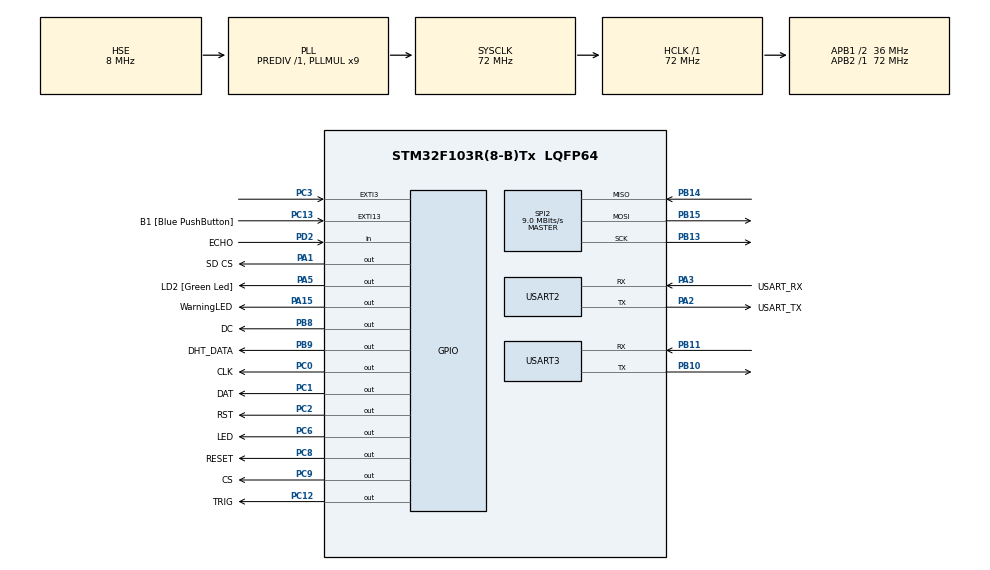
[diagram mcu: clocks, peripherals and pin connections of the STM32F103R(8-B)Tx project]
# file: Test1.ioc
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Dma.Request0=SPI2_TX
Dma.SPI2_TX.0.Direction=DMA_MEMORY_TO_PERIPH
Dma.SPI2_TX.0.Instance=DMA1_Channel5
Dma.SPI2_TX.0.MemDataAlignment=DMA_MDATAALIGN_BYTE
Dma.SPI2_TX.0.MemInc=DMA_MINC_ENABLE
Dma.SPI2_TX.0.Mode=DMA_NORMAL
Dma.SPI2_TX.0.PeriphDataAlignment=DMA_PDATAALIGN_BYTE
Dma.SPI2_TX.0.PeriphInc=DMA_PINC_DISABLE
Dma.SPI2_TX.0.Priority=DMA_PRIORITY_MEDIUM
FATFS._MAX_SS=4096
FATFS._USE_LFN=3
Mcu.Family=STM32F1
Mcu.Name=STM32F103R(8-B)Tx
Mcu.Package=LQFP64
NVIC.DMA1_Channel5_IRQn=true\:0\:0\:false\:false\:true\:false\:true\:true
NVIC.EXTI15_10_IRQn=true\:0\:0\:false\:false\:true\:true\:true\:true
NVIC.EXTI3_IRQn=true\:0\:0\:false\:false\:true\:true\:true\:true
NVIC.PriorityGroup=NVIC_PRIORITYGROUP_4
NVIC.SPI2_IRQn=true\:0\:0\:false\:false\:true\:true\:true\:true
NVIC.TIM4_IRQn=true\:15\:0\:false\:false\:true\:false\:true\:true
NVIC.TimeBase=TIM4_IRQn
NVIC.TimeBaseIP=TIM4
NVIC.USART3_IRQn=true\:0\:0\:false\:false\:true\:true\:true\:true
PA1.GPIO_Label=SD CS
PA1.GPIO_Speed=GPIO_SPEED_FREQ_MEDIUM
PA1.PinState=GPIO_PIN_SET
PA1.Signal=GPIO_Output
PA13.GPIO_Label=TMS
PA13.Mode=Serial_Wire
PA13.Signal=SYS_JTMS-SWDIO
PA14.GPIO_Label=TCK
PA14.Mode=Serial_Wire
PA14.Signal=SYS_JTCK-SWCLK
PA15.GPIO_Label=WarningLED
PA15.GPIO_Speed=GPIO_SPEED_FREQ_HIGH
PA15.Signal=GPIO_Output
PA2.GPIO_Label=USART_TX
PA2.GPIO_Mode=GPIO_MODE_AF_PP
PA2.GPIO_PuPd=GPIO_NOPULL
PA2.GPIO_Speed=GPIO_SPEED_FREQ_LOW
PA2.Mode=Asynchronous
PA2.Signal=USART2_TX
PA3.GPIO_Label=USART_RX
PA3.GPIO_Mode=GPIO_MODE_AF_PP
PA3.GPIO_PuPd=GPIO_NOPULL
PA3.GPIO_Speed=GPIO_SPEED_FREQ_LOW
PA3.Mode=Asynchronous
PA3.Signal=USART2_RX
PA5.GPIO_Label=LD2 [Green Led]
PA5.GPIO_ModeDefaultOutputPP=GPIO_MODE_OUTPUT_PP
PA5.GPIO_PuPd=GPIO_NOPULL
PA5.GPIO_Speed=GPIO_SPEED_FREQ_LOW
PA5.Signal=GPIO_Output
PB10.Mode=Asynchronous
PB10.Signal=USART3_TX
PB11.Mode=Asynchronous
PB11.Signal=USART3_RX
PB13.Mode=Full_Duplex_Master
PB13.Signal=SPI2_SCK
PB14.Mode=Full_Duplex_Master
PB14.Signal=SPI2_MISO
PB15.Mode=Full_Duplex_Master
PB15.Signal=SPI2_MOSI
PB3.GPIO_Label=SWO
PB3.Signal=SYS_JTDO-TRACESWO
PB8.GPIO_Label=DC
PB8.GPIO_Speed=GPIO_SPEED_FREQ_HIGH
PB8.PinState=GPIO_PIN_RESET
PB8.Signal=GPIO_Output
PB9.GPIO_Label=DHT_DATA
PB9.GPIO_Speed=GPIO_SPEED_FREQ_HIGH
PB9.PinState=GPIO_PIN_RESET
PB9.Signal=GPIO_Output
PC0.GPIO_Label=CLK
PC0.GPIO_Speed=GPIO_SPEED_FREQ_HIGH
PC0.Signal=GPIO_Output
PC1.GPIO_Label=DAT
PC1.GPIO_Speed=GPIO_SPEED_FREQ_HIGH
PC1.Signal=GPIO_Output
PC12.GPIO_Label=TRIG
PC12.GPIO_Speed=GPIO_SPEED_FREQ_HIGH
PC12.Signal=GPIO_Output
PC13-TAMPER-RTC.GPIO_Label=B1 [Blue PushButton]
PC13-TAMPER-RTC.GPIO_PuPd=GPIO_NOPULL
PC13-TAMPER-RTC.Signal=GPXTI13
PC14-OSC32_IN.Mode=LSE-External-Oscillator
PC14-OSC32_IN.Signal=RCC_OSC32_IN
PC15-OSC32_OUT.Mode=LSE-External-Oscillator
PC15-OSC32_OUT.Signal=RCC_OSC32_OUT
PC2.GPIO_Label=RST
PC2.GPIO_Speed=GPIO_SPEED_FREQ_HIGH
PC2.Signal=GPIO_Output
PC3.GPIO_ModeDefaultEXTI=GPIO_MODE_IT_RISING_FALLING
PC3.GPIO_PuPd=GPIO_NOPULL
PC3.Signal=GPXTI3
PC6.GPIO_Label=LED
PC6.GPIO_Speed=GPIO_SPEED_FREQ_HIGH
PC6.PinState=GPIO_PIN_SET
PC6.Signal=GPIO_Output
PC8.GPIO_Label=RESET
PC8.GPIO_Speed=GPIO_SPEED_FREQ_HIGH
PC8.PinState=GPIO_PIN_RESET
PC8.Signal=GPIO_Output
PC9.GPIO_Label=CS
PC9.GPIO_Speed=GPIO_SPEED_FREQ_HIGH
PC9.PinState=GPIO_PIN_SET
PC9.Signal=GPIO_Output
PD0-OSC_IN.Mode=HSE-External-Clock-Source
PD0-OSC_IN.Signal=RCC_OSC_IN
PD1-OSC_OUT.Mode=HSE-External-Clock-Source
PD1-OSC_OUT.Signal=RCC_OSC_OUT
PD2.GPIO_Label=ECHO
PD2.Signal=GPIO_Input
ProjectManager.HeapSize=0x200
ProjectManager.StackSize=0x400
ProjectManager.TargetToolchain=STM32CubeIDE
RCC.AHBFreq_Value=72000000
RCC.APB1CLKDivider=RCC_HCLK_DIV2
RCC.APB1Freq_Value=36000000
RCC.APB1TimFreq_Value=72000000
RCC.APB2Freq_Value=72000000
RCC.APB2TimFreq_Value=72000000
RCC.HCLKFreq_Value=72000000
RCC.PLLMUL=RCC_PLL_MUL9
RCC.PLLSourceVirtual=RCC_PLLSOURCE_HSE
RCC.RTCClockSelection=RCC_RTCCLKSOURCE_LSE
RCC.SYSCLKFreq_VALUE=72000000
RCC.SYSCLKSource=RCC_SYSCLKSOURCE_PLLCLK
RCC.USBFreq_Value=72000000
SPI2.BaudRatePrescaler=SPI_BAUDRATEPRESCALER_4
SPI2.CalculateBaudRate=9.0 MBits/s
SPI2.Direction=SPI_DIRECTION_2LINES
SPI2.Mode=SPI_MODE_MASTER
SPI2.VirtualType=VM_MASTER
TIM1.Prescaler=72-1
TIM2.Prescaler=72-1
USART2.VirtualMode=VM_ASYNC
USART3.VirtualMode=VM_ASYNC
VP_FATFS_VS_Generic.Mode=User_defined
VP_SYS_VS_tim4.Mode=TIM4
VP_TIM1_VS_ClockSourceINT.Mode=Internal
VP_TIM2_VS_ClockSourceINT.Mode=Internal
board=NUCLEO-F103RB

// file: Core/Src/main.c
/* USER CODE BEGIN Header */
/**
  ******************************************************************************
  * @file           : main.c
  * @brief          : Main program body
  ******************************************************************************
  * @attention
  *
  * Copyright (c) 2025 STMicroelectronics.
  * All rights reserved.
  *
  * This software is licensed under terms that can be found in the LICENSE file
  * in the root directory of this software component.
  * If no LICENSE file comes with this software, it is provided AS-IS.
  *
  ******************************************************************************
  */
/* USER CODE END Header */
#include "main.h"
#include "fatfs.h"

/* USER CODE BEGIN Includes */
#include "string.h"
#include "stdlib.h"
#include "stdio.h"
#include "fonts.h"
#include "ILI9341_GFX.h"
#include "ILI9341_STM32_Driver.h"
#include "mk_dht11.h"
#include "fatfs.h"
/* USER CODE END Includes */

/* USER CODE BEGIN PTD */
FLASH_EraseInitTypeDef EraseInitStruct;

typedef struct datameet
{
	uint8_t tensec;
	uint8_t tenmin;
	uint8_t tenhour;
	uint8_t tendate;
	uint8_t tenmonth;
	uint16_t realyear;
	uint16_t vibralevel;

	float avertemperature;
	float averwaterlevel;
	float averdistance;
}datameet;
/* USER CODE END PTD */

SPI_HandleTypeDef hspi2;
DMA_HandleTypeDef hdma_spi2_tx;

TIM_HandleTypeDef htim1;
TIM_HandleTypeDef htim2;

UART_HandleTypeDef huart2;
UART_HandleTypeDef huart3;

/* USER CODE BEGIN PV */
char modem[80] = { 0 };
char final[70] = { 0 };
char hcsr[50] = { 0 };
char rssifront[30] = { 0 };
char humitemp[30] = { 0 };
char send[30] = { 0 };
char sdfinal[50] = { 0 };
char bugfinal[70] = { 0 };
char sdbugfinal[50] = { 0 };
char transfinal[70] = { 0 };
char datafield[60] = { 0 };

uint32_t tempco = 0;
uint32_t humico = 0;
dht11_t dht;
uint16_t finaltemp = 0;
uint16_t finalhumi = 0;
uint16_t tempstack = 0;
uint16_t humistack = 0;
uint16_t diststack = 0;
uint16_t branch = 0;

char seccom[50] = "";

float temperror = 0;
float humierror = 0;
float disterror = 0;

uint8_t sec = 0;
uint8_t min = 0;
uint8_t hour = 0;
uint8_t date = 0;
uint8_t month = 0;
uint8_t year = 0;
uint8_t tenyear = 0;
int rssi = 0;

datameet timedata;

float distance;
float distco = 0;
float finaldist = 0;

FATFS fs;
FATFS *pfs;
FIL fil;
FIL filbug;

FRESULT fres;
DWORD fre_clust;
FRESULT ress;

/* USER CODE END PV */

void SystemClock_Config(void);
static void MX_GPIO_Init(void);
static void MX_DMA_Init(void);
static void MX_SPI2_Init(void);
static void MX_TIM1_Init(void);
static void MX_TIM2_Init(void);
static void MX_USART2_UART_Init(void);
static void MX_USART3_UART_Init(void);
/* USER CODE BEGIN PFP */
void HAL_Delayus(uint16_t);

void ProtectRESET();
void DS1302_RESET();
void DS1302_WriteByte(uint8_t,uint8_t);
void Clk();
uint16_t DS1302_ReadByte(uint16_t);
uint8_t DS1302_tenone(uint8_t);
void _Error_Handler(char *file, int line);
void Disconnect();
void HCSR();
/* USER CODE END PFP */

int main(void)
{

  /* MCU Configuration--------------------------------------------------------*/

  /* Reset of all peripherals, Initializes the Flash interface and the Systick. */
  HAL_Init();

  /* Configure the system clock */
  SystemClock_Config();

  /* Initialize all configured peripherals */
  MX_GPIO_Init();
  MX_DMA_Init();
  MX_SPI2_Init();
  MX_TIM1_Init();
  MX_TIM2_Init();
  MX_FATFS_Init();
  MX_USART2_UART_Init();
  MX_USART3_UART_Init();
  /* USER CODE BEGIN 2 */
  ILI9341_Init();
  init_dht11(&dht,&htim1,GPIOB,GPIO_PIN_9);

  f_mount(&fs,"",0);
  // !!!!!! Time Setting Code !!!!!!

  /*DS1302_WriteByte(0x80,0x50);
  DS1302_WriteByte(0x82,0x28);
  DS1302_WriteByte(0x84,0x11);
  DS1302_WriteByte(0x86,0x26);
  DS1302_WriteByte(0x88,0x03);
  DS1302_WriteByte(0x8C,0x25);*/

  ILI9341_FillScreen(WHITE);
  ILI9341_DrawText("Start",FONT4,95,170,BLACK,WHITE);

  HAL_Delay(5000);

  ILI9341_FillScreen(WHITE);

  while(1)
   {
 	  ILI9341_FillScreen(BLACK);

 	  HAL_Delay(1000);

 	  ILI9341_FillScreen(WHITE);

 	  HAL_Delay(1000);

   ILI9341_DrawText("AT",FONT4,100,160,BLACK, WHITE);

   memset(modem,0,sizeof(modem));
   HAL_UART_Transmit(&huart3,(uint8_t*)"AT\r\n",strlen("AT\r\n"),1000);
   HAL_UART_Receive(&huart3,(uint8_t*)modem,sizeof(modem),1000);

   if(strstr((const char*)modem,"OK") == NULL)
   {
 	  ILI9341_DrawText("AT Fail",FONT4,100,160,BLACK,WHITE);
 	  HAL_Delay(1000);

 	  ILI9341_FillScreen(WHITE);

 	  continue;
   }
   memset(modem,0,sizeof(modem));

   ILI9341_DrawText("AT OK",FONT4,100,160,BLACK, WHITE);

   HAL_Delay(1000);

   ILI9341_FillScreen(WHITE);

   ILI9341_DrawText("AT CFUN",FONT4,80,160,BLACK,WHITE);

   HAL_Delay(1000);

   memset(modem,0,sizeof(modem));
   HAL_UART_Transmit(&huart3,(uint8_t*)"AT+CFUN=1,1\r\n",strlen("AT+CFUN=1,1\r\n"), 1000);

   HAL_Delay(1000);

   ILI9341_FillScreen(WHITE);

   ILI9341_DrawText("Modem reseting..",FONT4,60,160,BLACK,WHITE);

   HAL_Delay(30000);

   ILI9341_FillScreen(WHITE);

   ILI9341_DrawText("AT CREG",FONT4,90,160,BLACK,WHITE);

   HAL_Delay(1000);

   memset(modem,0,sizeof(modem));
   HAL_UART_Transmit(&huart3,(uint8_t*)"AT+CREG?\r\n",strlen("AT+CREG?\r\n"),1000);
   HAL_UART_Receive(&huart3,(uint8_t*)modem,sizeof(modem),1000);

   if (strstr((const char*)modem, "0,1") == NULL && strstr((const char*)modem, "0,5") == NULL)
   {
 	  ILI9341_DrawText("AT CREG Fail",FONT4,70,160,BLACK,WHITE);
 	  HAL_Delay(1000);

 	  continue;
   }

   ILI9341_DrawText("AT CREG OK",FONT4,70,160,BLACK,WHITE);

   HAL_Delay(1000);

   ILI9341_FillScreen(WHITE);

   ILI9341_DrawText("AT+CGDCONT",FONT4,60,160,BLACK,WHITE);

   HAL_Delay(1000);

   memset(modem,0,sizeof(modem));
   HAL_UART_Transmit(&huart3,(uint8_t*)"AT+CGDCONT=1,\"IP\",\"3gnet\"\r\n",strlen("AT+CGDCONT=1,\"IP\",\"3gnet\"\r\n"),1000);
   HAL_UART_Receive(&huart3,(uint8_t*)modem,sizeof(modem),1000);

   if(strstr((const char*)modem,"OK") == NULL)
   {
 	  ILI9341_DrawText("AT CGDCONT Fail",FONT4,50,160,BLACK,WHITE);
 	  HAL_Delay(1000);

 	  continue;
   }

   ILI9341_DrawText("AT CGDCONT OK",FONT4,50,160,BLACK,WHITE);

   HAL_Delay(1000);

   ILI9341_FillScreen(WHITE);

   ILI9341_DrawText("AT SICS TYPE",FONT4,50,160,BLACK,WHITE);

   HAL_Delay(1000);

   memset(modem,0,sizeof(modem));

   HAL_UART_Transmit(&huart3,(uint8_t*)"AT^SICS=0,\"conType\",\"GPRS0\"\r\n",strlen("AT^SICS=0,\"conType\",\"GPRS0\"\r\n"),1000);
   HAL_UART_Receive(&huart3,(uint8_t*)modem,sizeof(modem),1000);

   if(strstr((const char*)modem,"OK") == NULL)
   {
 	  ILI9341_DrawText("AT SICS TYPE Fail",FONT4,50,160,BLACK,WHITE);
 	  HAL_Delay(1000);

 	  continue;
   }

   ILI9341_DrawText("AT SICS TYPE OK",FONT4,50,160,BLACK,WHITE);

   HAL_Delay(1000);

   ILI9341_FillScreen(WHITE);

   ILI9341_DrawText("AT SICS APN",FONT4,60,160,BLACK,WHITE);

   HAL_Delay(1000);

   memset(modem,0,sizeof(modem));

   HAL_UART_Transmit(&huart3,(uint8_t*)"AT^SICS=0,\"apn\",\"3gnet\"\r\n",strlen("AT^SICS=0,\"apn\",\"3gnet\"\r\n"),1000);
   HAL_UART_Receive(&huart3,(uint8_t*)modem,sizeof(modem),1000);

   if(strstr((const char*)modem, "OK") == NULL)
   {
 	  ILI9341_DrawText("AT SICS APN Fail",FONT4,50,160,BLACK,WHITE);
 	  HAL_Delay(1000);

 	  continue;
   }

   ILI9341_DrawText("AT SICS APN OK",FONT4,50,160,BLACK,WHITE);

   HAL_Delay(1000);

   ILI9341_FillScreen(WHITE);

   ILI9341_DrawText("AT SISS TYPE",FONT4,60,160,BLACK,WHITE);

   HAL_Delay(1000);
   memset(modem,0,sizeof(modem));
   HAL_UART_Transmit(&huart3,(uint8_t*)"AT^SISS=0,\"srvType\",\"Socket\"\r\n",strlen("AT^SISS=0,\"srvType\",\"Socket\"\r\n"),1000);
   HAL_UART_Receive(&huart3,(uint8_t*)modem,sizeof(modem),1000);

   if(strstr((const char*) modem, "OK") == NULL)
   {
 	  ILI9341_DrawText("AT SISS TYPE Fail",FONT4,50,160,BLACK,WHITE);
 	  HAL_Delay(1000);

 	  continue;
   }

   ILI9341_DrawText("AT SISS TYPE OK",FONT4,60,160,BLACK,WHITE);

   HAL_Delay(1000);

   ILI9341_FillScreen(WHITE);

   ILI9341_DrawText("AT SISS ID",FONT4,70,160,BLACK,WHITE);

   HAL_Delay(1000);
   memset(modem,0,sizeof(modem));
   HAL_UART_Transmit(&huart3,(uint8_t*)"AT^SISS=0,\"conId\",0\r\n",strlen("AT^SISS=0,\"conId\",0\r\n"),1000);
   HAL_UART_Receive(&huart3,(uint8_t*)modem,sizeof(modem),1000);

   if(strstr((const char*)modem,"OK") == NULL)
   {
 	  ILI9341_DrawText("AT SISS ID Fail",FONT4,60,160,BLACK,WHITE);
 	  HAL_Delay(1000);

 	  continue;
   }

   ILI9341_DrawText("AT SISS ID OK",FONT4,70,160,BLACK,WHITE);

   HAL_Delay(1000);

   ILI9341_FillScreen(WHITE);

   ILI9341_DrawText("AT SISS address",FONT4,60,160,BLACK,WHITE);

   HAL_Delay(1000);

   memset(modem,0,sizeof(modem));
   HAL_UART_Transmit(&huart3,(uint8_t*)"AT^SISS=0,\"address\",\"socktcp://49.254.169.71:5001\"\r\n",strlen("AT^SISS=0,\"address\",\"socktcp://49.254.169.71:5001\"\r\n"), 1000);
   HAL_UART_Receive(&huart3,(uint8_t*)modem,sizeof(modem),1000);

   if(strstr((const char*)modem, "OK") == NULL)
   {
 	  ILI9341_DrawText("AT SISS address Fail",FONT4,40,160,BLACK,WHITE);
 	  HAL_Delay(1000);

 	  continue;
   }

   ILI9341_DrawText("AT SISS address OK",FONT4,50,160,BLACK,WHITE);

   HAL_Delay(1000);

   ILI9341_FillScreen(WHITE);

   ILI9341_DrawText("AT+CGATT",FONT4,80,160,BLACK,WHITE);

   HAL_Delay(1000);
   memset(modem,0,sizeof(modem));
   HAL_UART_Transmit(&huart3,(uint8_t*)"AT+CGATT?\r\n",strlen("AT+CGATT?\r\n"), 1000);
   HAL_UART_Receive(&huart3,(uint8_t*)modem,sizeof(modem),1000);

   if(strstr((const char*)modem,"1") == NULL)
   {
 	 ILI9341_DrawText("AT+CGATT Fail",FONT4,70,160,BLACK,WHITE);
 	 HAL_Delay(1000);

 	 continue;
   }

   ILI9341_DrawText("AT CGATT OK",FONT4,70,160,BLACK,WHITE);

   HAL_Delay(1000);

   ILI9341_FillScreen(WHITE);

   ILI9341_DrawText("AT+CGACT",FONT4,70,160,BLACK,WHITE);

   HAL_Delay(1000);
   memset(modem,0,sizeof(modem));
   HAL_UART_Transmit(&huart3,(uint8_t*)"AT+CGACT=1,1\r\n",strlen("AT+CGACT=1,1\r\n"), 1000);
   HAL_UART_Receive(&huart3,(uint8_t*)modem,sizeof(modem),1000);

   HAL_Delay(5000);

   if(strstr((const char*)modem,"1,1") == NULL)
    {
  	  ILI9341_DrawText("AT+CGACT Fail",FONT4,80,160,BLACK,WHITE);
  	  HAL_Delay(1000);

  	  continue;
    }

    ILI9341_DrawText("AT+CGACT OK",FONT4,70,160,BLACK,WHITE);

      HAL_Delay(1000);

      HAL_UART_Transmit(&huart3,(uint8_t*)"AT^SISO=0\r\n",strlen("AT^SISO=0\r\n"),1000);
      HAL_UART_Receive(&huart3,(uint8_t*)modem,sizeof(modem),1000);

      HAL_Delay(3000);

      ILI9341_DrawText("Communication OK?",FONT4,60,160,BLACK,WHITE);

      HAL_Delay(1000);

      HAL_UART_Transmit(&huart3,(uint8_t*)"AT^SISI?\r\n",strlen("AT^SISI?\r\n"),1000);
      HAL_UART_Receive(&huart3,(uint8_t*)modem,sizeof(modem),1000);

      if(strstr((const char*)modem, "0,4") == NULL)
      {
     	 ILI9341_DrawText("Communication Fail",FONT4,40,160,BLACK,WHITE);
     	 HAL_Delay(1000);

     	 continue;
      }
      ILI9341_FillScreen(WHITE);

      ILI9341_DrawText("Communication OK",FONT4,50,160,BLACK,WHITE);

      HAL_Delay(1000);

      ILI9341_FillScreen(WHITE);

      break;
   }
  /* USER CODE END 2 */

  /* Infinite loop */
  while (1)
  {

    /* USER CODE BEGIN 3 */
	    Clk();

	    sprintf(seccom,"  %d/%02d/%02d    %02d:%02d:%02d\r\n\r\n",timedata.realyear,timedata.tenmonth,timedata.tendate,timedata.tenhour,timedata.tenmin,timedata.tensec);
	    ILI9341_DrawText(seccom,FONT4,1,260,BLACK,WHITE);

	    readDHT11(&dht);
	    HCSR();

	    uint8_t temp = dht.temperature;
	    uint8_t humi = dht.humidty;

	    if(distance > 300 || distance < 2)
	    {
	    	disterror++;
	    }
	    else
	    {
	    	 distco += distance;
	    	 diststack++;
	    }

	    if(temp > 50 || temp < 0)
	    {
	    	temperror++;
	    }
	    else
	    {
	        tempco += temp;
	        tempstack++;
	    }

	    if(humi > 90 || humi < 15)
	    {
	    	humierror++;
	    }
	    else
	    {
	    	humico += humi;
	    	humistack++;
	    }

	    sprintf(hcsr,"Distance : %.2fcm",distance);
	    sprintf(humitemp,"Temp : %d*C Humi : %drh",temp,humi);

	    ILI9341_DrawText(hcsr,FONT4,15,120,BLACK, WHITE);
	    ILI9341_DrawText(humitemp,FONT4,15,170,BLACK,WHITE);

	    if(timedata.tenmin % 10 == 0)
	    {
	    	branch++;
	    }

	    if(branch == 1)
	    {
	    finaldist = distco/diststack;
	    finaltemp = tempco/tempstack;
	    finalhumi = humico/humistack;

	    disterror = disterror/(float)diststack * 100.0;
	    temperror = temperror/(float)tempstack * 100.0;
	    humierror = humierror/(float)humistack * 100.0;

	    memset(modem,0,sizeof(modem));

	    HAL_UART_Transmit(&huart3,(uint8_t*)"AT+CSQ\r\n",strlen("AT+CSQ\r\n"),1000);
	    HAL_UART_Receive(&huart3,(uint8_t*)modem,sizeof(modem),1000);
	    char *csqptr = strstr(modem,":");
	    sscanf(csqptr,": %d",&rssi);

		sprintf(final,"%d-%02d-%02d/%02d:%02d:%02d %d %d %.2f %02d %.1f %.1f %.1f",timedata.realyear,timedata.tenmonth,timedata.tendate,timedata.tenhour,timedata.tenmin,timedata.tensec,finaltemp,finalhumi,finaldist,rssi,disterror,temperror,humierror);
		sprintf(datafield,"%d%02d%02d%02d%02d%02d %d %d %.2f %02d %.1f %.1f %.1f",timedata.realyear,timedata.tenmonth,timedata.tendate,timedata.tenhour,timedata.tenmin,timedata.tensec,finaltemp,finalhumi,finaldist,rssi,disterror,temperror,humierror);

		uint8_t datalen = strlen(datafield);
		uint8_t checksum = 0;
        uint8_t checkstack = 0;

		while(datafield[checkstack] != '\0')
		{
			checksum ^= datafield[checkstack];

			checkstack++;
		}

		sprintf(transfinal,"#%d%d%02d%02d%02d%02d%02d %d %d %.2f %02d %.1f %.1f %.1f$%d@",datalen,timedata.realyear,timedata.tenmonth,timedata.tendate,timedata.tenhour,timedata.tenmin,timedata.tensec,finaltemp,finalhumi,finaldist,rssi,disterror,temperror,humierror,checksum);
		sprintf(sdfinal,"%d-%02d-%02d.txt",timedata.realyear,timedata.tenmonth,timedata.tendate);
	    sprintf(rssifront,"Rssi[db] : %d", rssi);

	    ILI9341_DrawText(rssifront,FONT4,40,60,BLACK,WHITE);

		HAL_UART_Transmit(&huart3,(uint8_t*)"AT^SISI?\r\n",strlen("AT^SISI?\r\n"),1000);
		HAL_UART_Receive(&huart3,(uint8_t*)modem,sizeof(modem),1000);

		if((strstr((const char*)modem,"0,4") != NULL))
		{
		f_open(&fil,sdfinal,FA_WRITE | FA_READ | FA_OPEN_ALWAYS);
		f_lseek(&fil, f_size(&fil));
		f_puts(final,&fil);
		f_puts("\n",&fil);
		f_close(&fil);

		sprintf(send,"AT^SISW=0,%d\r\n",strlen(transfinal));

		HAL_UART_Transmit(&huart3,(uint8_t*)send,strlen(send),1000);

		HAL_Delay(1000);

		HAL_UART_Transmit(&huart3,(uint8_t*)transfinal,strlen(transfinal),1000);
		}
		else
		{
			Disconnect();
		}

	    distco = 0;
		tempco = 0;
		humico = 0;

		finalhumi = 0;
		finaltemp = 0;
		finaldist = 0;
		diststack = 0;
		tempstack = 0;
		humistack = 0;
		disterror = 0;
		temperror = 0;
		humierror = 0;
	    }
	    else if(timedata.tenmin % 10 != 0)
	    {
	    	branch = 0;
	    }

	    HAL_Delay(720);
  }
  /* USER CODE END 3 */
}

void SystemClock_Config(void)
{
  RCC_OscInitTypeDef RCC_OscInitStruct = {0};
  RCC_ClkInitTypeDef RCC_ClkInitStruct = {0};

  /** Initializes the RCC Oscillators according to the specified parameters
  * in the RCC_OscInitTypeDef structure.
  */
  RCC_OscInitStruct.OscillatorType = RCC_OSCILLATORTYPE_HSE;
  RCC_OscInitStruct.HSEState = RCC_HSE_BYPASS;
  RCC_OscInitStruct.HSEPredivValue = RCC_HSE_PREDIV_DIV1;
  RCC_OscInitStruct.HSIState = RCC_HSI_ON;
  RCC_OscInitStruct.PLL.PLLState = RCC_PLL_ON;
  RCC_OscInitStruct.PLL.PLLSource = RCC_PLLSOURCE_HSE;
  RCC_OscInitStruct.PLL.PLLMUL = RCC_PLL_MUL9;
  if (HAL_RCC_OscConfig(&RCC_OscInitStruct) != HAL_OK)
  {
    Error_Handler();
  }

  /** Initializes the CPU, AHB and APB buses clocks
  */
  RCC_ClkInitStruct.ClockType = RCC_CLOCKTYPE_HCLK|RCC_CLOCKTYPE_SYSCLK
                              |RCC_CLOCKTYPE_PCLK1|RCC_CLOCKTYPE_PCLK2;
  RCC_ClkInitStruct.SYSCLKSource = RCC_SYSCLKSOURCE_PLLCLK;
  RCC_ClkInitStruct.AHBCLKDivider = RCC_SYSCLK_DIV1;
  RCC_ClkInitStruct.APB1CLKDivider = RCC_HCLK_DIV2;
  RCC_ClkInitStruct.APB2CLKDivider = RCC_HCLK_DIV1;

  if (HAL_RCC_ClockConfig(&RCC_ClkInitStruct, FLASH_LATENCY_2) != HAL_OK)
  {
    Error_Handler();
  }
}

static void MX_SPI2_Init(void)
{

  /* SPI2 parameter configuration*/
  hspi2.Instance = SPI2;
  hspi2.Init.Mode = SPI_MODE_MASTER;
  hspi2.Init.Direction = SPI_DIRECTION_2LINES;
  hspi2.Init.DataSize = SPI_DATASIZE_8BIT;
  hspi2.Init.CLKPolarity = SPI_POLARITY_LOW;
  hspi2.Init.CLKPhase = SPI_PHASE_1EDGE;
  hspi2.Init.NSS = SPI_NSS_SOFT;
  hspi2.Init.BaudRatePrescaler = SPI_BAUDRATEPRESCALER_4;
  hspi2.Init.FirstBit = SPI_FIRSTBIT_MSB;
  hspi2.Init.TIMode = SPI_TIMODE_DISABLE;
  hspi2.Init.CRCCalculation = SPI_CRCCALCULATION_DISABLE;
  hspi2.Init.CRCPolynomial = 10;
  if (HAL_SPI_Init(&hspi2) != HAL_OK)
  {
    Error_Handler();
  }

}

static void MX_TIM1_Init(void)
{

  TIM_ClockConfigTypeDef sClockSourceConfig = {0};
  TIM_MasterConfigTypeDef sMasterConfig = {0};

  htim1.Instance = TIM1;
  htim1.Init.Prescaler = 72-1;
  htim1.Init.CounterMode = TIM_COUNTERMODE_UP;
  htim1.Init.Period = 65535;
  htim1.Init.ClockDivision = TIM_CLOCKDIVISION_DIV1;
  htim1.Init.RepetitionCounter = 0;
  htim1.Init.AutoReloadPreload = TIM_AUTORELOAD_PRELOAD_DISABLE;
  if (HAL_TIM_Base_Init(&htim1) != HAL_OK)
  {
    Error_Handler();
  }
  sClockSourceConfig.ClockSource = TIM_CLOCKSOURCE_INTERNAL;
  if (HAL_TIM_ConfigClockSource(&htim1, &sClockSourceConfig) != HAL_OK)
  {
    Error_Handler();
  }
  sMasterConfig.MasterOutputTrigger = TIM_TRGO_RESET;
  sMasterConfig.MasterSlaveMode = TIM_MASTERSLAVEMODE_DISABLE;
  if (HAL_TIMEx_MasterConfigSynchronization(&htim1, &sMasterConfig) != HAL_OK)
  {
    Error_Handler();
  }

}

static void MX_TIM2_Init(void)
{

  TIM_ClockConfigTypeDef sClockSourceConfig = {0};
  TIM_MasterConfigTypeDef sMasterConfig = {0};

  htim2.Instance = TIM2;
  htim2.Init.Prescaler = 72-1;
  htim2.Init.CounterMode = TIM_COUNTERMODE_UP;
  htim2.Init.Period = 65535;
  htim2.Init.ClockDivision = TIM_CLOCKDIVISION_DIV1;
  htim2.Init.AutoReloadPreload = TIM_AUTORELOAD_PRELOAD_DISABLE;
  if (HAL_TIM_Base_Init(&htim2) != HAL_OK)
  {
    Error_Handler();
  }
  sClockSourceConfig.ClockSource = TIM_CLOCKSOURCE_INTERNAL;
  if (HAL_TIM_ConfigClockSource(&htim2, &sClockSourceConfig) != HAL_OK)
  {
    Error_Handler();
  }
  sMasterConfig.MasterOutputTrigger = TIM_TRGO_RESET;
  sMasterConfig.MasterSlaveMode = TIM_MASTERSLAVEMODE_DISABLE;
  if (HAL_TIMEx_MasterConfigSynchronization(&htim2, &sMasterConfig) != HAL_OK)
  {
    Error_Handler();
  }

}

static void MX_USART2_UART_Init(void)
{

  huart2.Instance = USART2;
  huart2.Init.BaudRate = 115200;
  huart2.Init.WordLength = UART_WORDLENGTH_8B;
  huart2.Init.StopBits = UART_STOPBITS_1;
  huart2.Init.Parity = UART_PARITY_NONE;
  huart2.Init.Mode = UART_MODE_TX_RX;
  huart2.Init.HwFlowCtl = UART_HWCONTROL_NONE;
  huart2.Init.OverSampling = UART_OVERSAMPLING_16;
  if (HAL_UART_Init(&huart2) != HAL_OK)
  {
    Error_Handler();
  }

}

static void MX_USART3_UART_Init(void)
{

  huart3.Instance = USART3;
  huart3.Init.BaudRate = 115200;
  huart3.Init.WordLength = UART_WORDLENGTH_8B;
  huart3.Init.StopBits = UART_STOPBITS_1;
  huart3.Init.Parity = UART_PARITY_NONE;
  huart3.Init.Mode = UART_MODE_TX_RX;
  huart3.Init.HwFlowCtl = UART_HWCONTROL_NONE;
  huart3.Init.OverSampling = UART_OVERSAMPLING_16;
  if (HAL_UART_Init(&huart3) != HAL_OK)
  {
    Error_Handler();
  }

}

static void MX_DMA_Init(void)
{

  /* DMA controller clock enable */
  __HAL_RCC_DMA1_CLK_ENABLE();

  /* DMA interrupt init */
  /* DMA1_Channel5_IRQn interrupt configuration */
  HAL_NVIC_SetPriority(DMA1_Channel5_IRQn, 0, 0);
  HAL_NVIC_EnableIRQ(DMA1_Channel5_IRQn);

}

static void MX_GPIO_Init(void)
{
  GPIO_InitTypeDef GPIO_InitStruct = {0};

  /* GPIO Ports Clock Enable */
  __HAL_RCC_GPIOC_CLK_ENABLE();
  __HAL_RCC_GPIOD_CLK_ENABLE();
  __HAL_RCC_GPIOA_CLK_ENABLE();
  __HAL_RCC_GPIOB_CLK_ENABLE();

  /*Configure GPIO pin Output Level */
  HAL_GPIO_WritePin(GPIOC, CLK_Pin|DAT_Pin|RST_Pin|RESET_Pin
                          |TRIG_Pin, GPIO_PIN_RESET);

  /*Configure GPIO pin Output Level */
  HAL_GPIO_WritePin(SD_CS_GPIO_Port, SD_CS_Pin, GPIO_PIN_SET);

  /*Configure GPIO pin Output Level */
  HAL_GPIO_WritePin(GPIOA, LD2_Pin|WarningLED_Pin, GPIO_PIN_RESET);

  /*Configure GPIO pin Output Level */
  HAL_GPIO_WritePin(GPIOC, LED_Pin|CS_Pin, GPIO_PIN_SET);

  /*Configure GPIO pin Output Level */
  HAL_GPIO_WritePin(GPIOB, DC_Pin|DHT_DATA_Pin, GPIO_PIN_RESET);

  /*Configure GPIO pin : B1_Pin */
  GPIO_InitStruct.Pin = B1_Pin;
  GPIO_InitStruct.Mode = GPIO_MODE_IT_RISING;
  GPIO_InitStruct.Pull = GPIO_NOPULL;
  HAL_GPIO_Init(B1_GPIO_Port, &GPIO_InitStruct);

  /*Configure GPIO pins : CLK_Pin DAT_Pin RST_Pin LED_Pin
                           RESET_Pin CS_Pin TRIG_Pin */
  GPIO_InitStruct.Pin = CLK_Pin|DAT_Pin|RST_Pin|LED_Pin
                          |RESET_Pin|CS_Pin|TRIG_Pin;
  GPIO_InitStruct.Mode = GPIO_MODE_OUTPUT_PP;
  GPIO_InitStruct.Pull = GPIO_NOPULL;
  GPIO_InitStruct.Speed = GPIO_SPEED_FREQ_HIGH;
  HAL_GPIO_Init(GPIOC, &GPIO_InitStruct);

  /*Configure GPIO pin : PC3 */
  GPIO_InitStruct.Pin = GPIO_PIN_3;
  GPIO_InitStruct.Mode = GPIO_MODE_IT_RISING_FALLING;
  GPIO_InitStruct.Pull = GPIO_NOPULL;
  HAL_GPIO_Init(GPIOC, &GPIO_InitStruct);

  /*Configure GPIO pin : SD_CS_Pin */
  GPIO_InitStruct.Pin = SD_CS_Pin;
  GPIO_InitStruct.Mode = GPIO_MODE_OUTPUT_PP;
  GPIO_InitStruct.Pull = GPIO_NOPULL;
  GPIO_InitStruct.Speed = GPIO_SPEED_FREQ_MEDIUM;
  HAL_GPIO_Init(SD_CS_GPIO_Port, &GPIO_InitStruct);

  /*Configure GPIO pin : LD2_Pin */
  GPIO_InitStruct.Pin = LD2_Pin;
  GPIO_InitStruct.Mode = GPIO_MODE_OUTPUT_PP;
  GPIO_InitStruct.Pull = GPIO_NOPULL;
  GPIO_InitStruct.Speed = GPIO_SPEED_FREQ_LOW;
  HAL_GPIO_Init(LD2_GPIO_Port, &GPIO_InitStruct);

  /*Configure GPIO pin : WarningLED_Pin */
  GPIO_InitStruct.Pin = WarningLED_Pin;
  GPIO_InitStruct.Mode = GPIO_MODE_OUTPUT_PP;
  GPIO_InitStruct.Pull = GPIO_NOPULL;
  GPIO_InitStruct.Speed = GPIO_SPEED_FREQ_HIGH;
  HAL_GPIO_Init(WarningLED_GPIO_Port, &GPIO_InitStruct);

  /*Configure GPIO pin : ECHO_Pin */
  GPIO_InitStruct.Pin = ECHO_Pin;
  GPIO_InitStruct.Mode = GPIO_MODE_INPUT;
  GPIO_InitStruct.Pull = GPIO_NOPULL;
  HAL_GPIO_Init(ECHO_GPIO_Port, &GPIO_InitStruct);

  /*Configure GPIO pins : DC_Pin DHT_DATA_Pin */
  GPIO_InitStruct.Pin = DC_Pin|DHT_DATA_Pin;
  GPIO_InitStruct.Mode = GPIO_MODE_OUTPUT_PP;
  GPIO_InitStruct.Pull = GPIO_NOPULL;
  GPIO_InitStruct.Speed = GPIO_SPEED_FREQ_HIGH;
  HAL_GPIO_Init(GPIOB, &GPIO_InitStruct);

  /* EXTI interrupt init*/
  HAL_NVIC_SetPriority(EXTI3_IRQn, 0, 0);
  HAL_NVIC_EnableIRQ(EXTI3_IRQn);

  HAL_NVIC_SetPriority(EXTI15_10_IRQn, 0, 0);
  HAL_NVIC_EnableIRQ(EXTI15_10_IRQn);

}

/* USER CODE BEGIN 4 */
void HAL_Delayus(uint16_t time)
{
	HAL_TIM_Base_Start(&htim1);

	__HAL_TIM_SET_COUNTER(&htim1,0);

	while(__HAL_TIM_GET_COUNTER(&htim1) < time);

	HAL_TIM_Base_Stop(&htim1);
}

void ProtectRESET()
{
	uint8_t protect = 0x8E;

	HAL_GPIO_WritePin(RST_GPIO_Port,RST_Pin,GPIO_PIN_SET);

	for(int i = 0; i < 8; i++)
	{
	   HAL_GPIO_WritePin(DAT_GPIO_Port,DAT_Pin,(protect >> i) & 0x01);

	   HAL_GPIO_WritePin(CLK_GPIO_Port,CLK_Pin,GPIO_PIN_SET);
	   HAL_GPIO_WritePin(CLK_GPIO_Port,CLK_Pin,GPIO_PIN_RESET);
	}

	for(int i = 0; i < 8; i++)
	{
		HAL_GPIO_WritePin(DAT_GPIO_Port,DAT_Pin,0x00);

		HAL_GPIO_WritePin(CLK_GPIO_Port,CLK_Pin,GPIO_PIN_SET);
	    HAL_GPIO_WritePin(CLK_GPIO_Port,CLK_Pin,GPIO_PIN_RESET);
	}

	HAL_GPIO_WritePin(RST_GPIO_Port,RST_Pin,GPIO_PIN_RESET);
}

void DS1302_RESET()
{
	HAL_GPIO_WritePin(RST_GPIO_Port,RST_Pin,GPIO_PIN_RESET);
	HAL_GPIO_WritePin(CLK_GPIO_Port,CLK_Pin,GPIO_PIN_RESET);
}

void DS1302_WriteByte(uint8_t ch,uint8_t data)
{

	HAL_GPIO_WritePin(RST_GPIO_Port,RST_Pin,GPIO_PIN_SET);
	for(int i = 0; i < 8; i++)
	{
		HAL_GPIO_WritePin(DAT_GPIO_Port,DAT_Pin,(ch >> i) & 0x01);

		HAL_GPIO_WritePin(CLK_GPIO_Port,CLK_Pin,GPIO_PIN_SET);
		HAL_GPIO_WritePin(CLK_GPIO_Port,CLK_Pin,GPIO_PIN_RESET);
	}

	HAL_Delay(10);

	for(int i = 0; i < 8; i++)
	{
		HAL_GPIO_WritePin(DAT_GPIO_Port,DAT_Pin,(data >> i) & 0x01);

		HAL_GPIO_WritePin(CLK_GPIO_Port,CLK_Pin,GPIO_PIN_SET);
		HAL_GPIO_WritePin(CLK_GPIO_Port,CLK_Pin,GPIO_PIN_RESET);
	}

	HAL_GPIO_WritePin(RST_GPIO_Port,RST_Pin,GPIO_PIN_RESET);
}

uint16_t DS1302_ReadByte(uint16_t ch)
{
	uint16_t time = 0;

	HAL_GPIO_WritePin(RST_GPIO_Port,RST_Pin,GPIO_PIN_SET);

	for(int i = 0; i < 8; i++)
	{
		HAL_GPIO_WritePin(DAT_GPIO_Port,DAT_Pin,(ch >> i) & 0x01);
		HAL_GPIO_WritePin(CLK_GPIO_Port,CLK_Pin,GPIO_PIN_SET);
		HAL_GPIO_WritePin(CLK_GPIO_Port,CLK_Pin,GPIO_PIN_RESET);
	}

	GPIO_InitTypeDef GPIO_InitStruct = {0};

	GPIO_InitStruct.Pin = DAT_Pin;
	GPIO_InitStruct.Mode = GPIO_MODE_INPUT;
	GPIO_InitStruct.Pull = GPIO_NOPULL;
	GPIO_InitStruct.Speed = GPIO_SPEED_FREQ_LOW;
	HAL_GPIO_Init(GPIOC, &GPIO_InitStruct);

	for(int i = 0; i < 8; i++)
	{
	 if(HAL_GPIO_ReadPin(DAT_GPIO_Port,DAT_Pin) == GPIO_PIN_SET)
	 {
		time |= 1 << i;
	 }

	 HAL_GPIO_WritePin(CLK_GPIO_Port,CLK_Pin,GPIO_PIN_SET);
	 HAL_GPIO_WritePin(CLK_GPIO_Port,CLK_Pin,GPIO_PIN_RESET);
	}

	HAL_GPIO_WritePin(RST_GPIO_Port,RST_Pin,GPIO_PIN_RESET);

	 GPIO_InitStruct.Pin = DAT_Pin;
	 GPIO_InitStruct.Mode = GPIO_MODE_OUTPUT_PP;
	 GPIO_InitStruct.Pull = GPIO_NOPULL;
	 GPIO_InitStruct.Speed = GPIO_SPEED_FREQ_LOW;
	 HAL_GPIO_Init(GPIOC, &GPIO_InitStruct);

	return time;
}

uint8_t DS1302_tenone(uint8_t num)
{
	uint8_t ten = (num >> 4) * 10;
	uint8_t one = num & 0x0f;
	uint8_t sum = ten+one;

	return sum;
}

void Clk()
{
	  sec = DS1302_ReadByte(0x81);
	  min = DS1302_ReadByte(0x83);
	  hour = DS1302_ReadByte(0x85);
	  date = DS1302_ReadByte(0x87);
	  month = DS1302_ReadByte(0x89);
	  year = DS1302_ReadByte(0x8D);

	  timedata.tensec = DS1302_tenone(sec);
	  timedata.tenmin = DS1302_tenone(min);
	  timedata.tenhour = DS1302_tenone(hour);
	  timedata.tendate = DS1302_tenone(date);
	  timedata.tenmonth = DS1302_tenone(month);
	  tenyear = DS1302_tenone(year);
	  timedata.realyear = tenyear + 2000;
}

void HCSR()
{
    HAL_GPIO_WritePin(TRIG_GPIO_Port, TRIG_Pin, GPIO_PIN_SET);

    HAL_Delayus(10);

    HAL_GPIO_WritePin(TRIG_GPIO_Port, TRIG_Pin, GPIO_PIN_RESET);

    while(HAL_GPIO_ReadPin(ECHO_GPIO_Port,ECHO_Pin) != GPIO_PIN_SET);

    HAL_TIM_Base_Start(&htim2);

    __HAL_TIM_SET_COUNTER(&htim2,0);

    while(HAL_GPIO_ReadPin(ECHO_GPIO_Port,ECHO_Pin) == GPIO_PIN_SET);

    HAL_TIM_Base_Stop(&htim2);

    uint32_t sonic = __HAL_TIM_GET_COUNTER(&htim2);

    distance = (sonic * 0.0343) / 2;
}

void HAL_GPIO_EXTI_Callback(uint16_t GPIO_Pin)
{
	if(GPIO_Pin == GPIO_PIN_3)
	{
		if(HAL_GPIO_ReadPin(GPIOC,GPIO_PIN_3))
	    {
		HAL_GPIO_WritePin(GPIOA,GPIO_PIN_15,GPIO_PIN_SET);
	    }
		else
		{
	    HAL_GPIO_WritePin(GPIOA,GPIO_PIN_15,GPIO_PIN_RESET);
		}
	}
}

void _Error_Handler(char *file, int line)
{
    printf("Error occurred in file: %s, at line: %d\n",file, line);
    while (1);
}

void Disconnect()
{
	            sprintf(bugfinal,"%d-%02d-%02d/%02d:%02d:%02d %d %d %.2f %02d %.1f %.1f %.1f",timedata.realyear,timedata.tenmonth,timedata.tendate,timedata.tenhour,timedata.tenmin,timedata.tensec,finaltemp,finalhumi,finaldist,rssi,disterror,temperror,humierror);
                sprintf(sdbugfinal,"%d-%02d-%02d Disconnect.txt",timedata.realyear,timedata.tenmonth,timedata.tendate);

                HAL_UART_Transmit(&huart3,(uint8_t*)"AT+CREG?\r\n",strlen("AT+CREG?\r\n"), 1000);
                HAL_UART_Receive(&huart3,(uint8_t*)modem,sizeof(modem),1000);

                if(strstr((const char*)modem,"OK") == NULL)
                {
    	            f_open(&filbug,sdbugfinal,FA_WRITE | FA_READ | FA_OPEN_ALWAYS);
    	            f_lseek(&filbug, f_size(&filbug));
    	            f_puts(bugfinal,&filbug);
    	            f_puts(" : 1.CREG Error\n",&filbug);
    	            f_close(&filbug);

    	            ILI9341_FillScreen(WHITE);
    				ILI9341_DrawText("Re Connecting..\r\n",FONT4,50,160,BLACK, WHITE);

    				HAL_UART_Transmit(&huart3,(uint8_t*)"AT^SISC=0\r\n",strlen("AT^SISC=0\r\n"),1000);

    				HAL_Delay(3000);

    			    HAL_UART_Transmit(&huart3,(uint8_t*)"AT^SISO=0\r\n",strlen("AT^SISO=0\r\n"),1000);
    			    HAL_UART_Receive(&huart3,(uint8_t*)modem,sizeof(modem),1000);

    			    HAL_Delay(5000);

    				ILI9341_FillScreen(WHITE);

    				return;
                }

                HAL_UART_Transmit(&huart3,(uint8_t*)"AT+CGACT?\r\n",strlen("AT+CGACT?\r\n"), 1000);
                HAL_UART_Receive(&huart3,(uint8_t*)modem,sizeof(modem),1000);

                if(strstr((const char*)modem,"1,1") == NULL)
                {
    	            f_open(&filbug,sdbugfinal,FA_WRITE | FA_READ | FA_OPEN_ALWAYS);
    	            f_lseek(&filbug, f_size(&filbug));
    	            f_puts(bugfinal,&filbug);
    	            f_puts(" : 2.CGACT Error\n",&filbug);
    	            f_close(&filbug);

    	            ILI9341_FillScreen(WHITE);
    				ILI9341_DrawText("Re Connecting..\r\n",FONT4,50,160,BLACK, WHITE);

    				HAL_UART_Transmit(&huart3,(uint8_t*)"AT^SISC=0\r\n",strlen("AT^SISC=0\r\n"),1000);

    				HAL_Delay(3000);

    			    HAL_UART_Transmit(&huart3,(uint8_t*)"AT^SISO=0\r\n",strlen("AT^SISO=0\r\n"),1000);
    			    HAL_UART_Receive(&huart3,(uint8_t*)modem,sizeof(modem),1000);

    			    HAL_Delay(5000);

    				ILI9341_FillScreen(WHITE);

    				return;
                }

                HAL_UART_Transmit(&huart3,(uint8_t*)"AT^SISS?\r\n",strlen("AT^SISS?\r\n"), 1000);
                HAL_UART_Receive(&huart3,(uint8_t*)modem,sizeof(modem),1000);

                if(strstr((const char*)modem,"4") == NULL)
                {
    	            f_open(&filbug,sdbugfinal,FA_WRITE | FA_READ | FA_OPEN_ALWAYS);
    	            f_lseek(&filbug, f_size(&filbug));
    	            f_puts(bugfinal,&filbug);
    	            f_puts(" : 3.SISS Error\n",&filbug);
    	            f_close(&filbug);

    	            ILI9341_FillScreen(WHITE);
    				ILI9341_DrawText("Re Connecting..\r\n",FONT4,50,160,BLACK, WHITE);

    				HAL_UART_Transmit(&huart3,(uint8_t*)"AT^SISC=0\r\n",strlen("AT^SISC=0\r\n"),1000);

    				HAL_Delay(3000);

    			    HAL_UART_Transmit(&huart3,(uint8_t*)"AT^SISO=0\r\n",strlen("AT^SISO=0\r\n"),1000);
    			    HAL_UART_Receive(&huart3,(uint8_t*)modem,sizeof(modem),1000);

    			    HAL_Delay(5000);

    				ILI9341_FillScreen(WHITE);

    				return;
                }

	            f_open(&filbug,sdbugfinal,FA_WRITE | FA_READ | FA_OPEN_ALWAYS);
	            f_lseek(&filbug, f_size(&filbug));
	            f_puts(bugfinal,&filbug);
	            f_puts(" : Unknown\n",&filbug);
	            f_close(&filbug);

	            ILI9341_FillScreen(WHITE);
	            ILI9341_DrawText("Re Connecting..\r\n",FONT4,50,160,BLACK, WHITE);

	            HAL_UART_Transmit(&huart3,(uint8_t*)"AT^SISC=0\r\n",strlen("AT^SISC=0\r\n"),1000);

	            HAL_Delay(3000);

	            HAL_UART_Transmit(&huart3,(uint8_t*)"AT^SISO=0\r\n",strlen("AT^SISO=0\r\n"),1000);
	            HAL_UART_Receive(&huart3,(uint8_t*)modem,sizeof(modem),1000);

	            HAL_Delay(5000);

	            ILI9341_FillScreen(WHITE);
}
/* USER CODE END 4 */

void HAL_TIM_PeriodElapsedCallback(TIM_HandleTypeDef *htim)
{
  if (htim->Instance == TIM4) {
    HAL_IncTick();
  }
}

void Error_Handler(void)
{
  __disable_irq();
  while (1)
  {
  }
}
